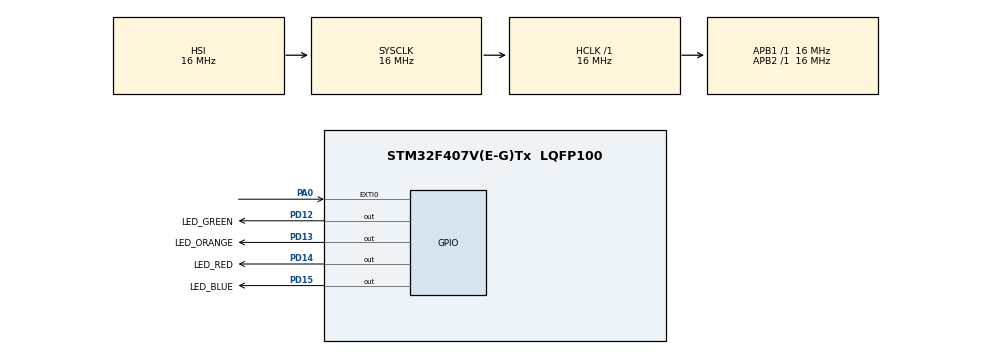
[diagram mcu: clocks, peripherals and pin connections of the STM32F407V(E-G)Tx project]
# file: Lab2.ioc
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Mcu.Family=STM32F4
Mcu.Name=STM32F407V(E-G)Tx
Mcu.Package=LQFP100
NVIC.EXTI0_IRQn=true\:1\:0\:true\:false\:true\:true\:true\:true
NVIC.PriorityGroup=NVIC_PRIORITYGROUP_4
PA0-WKUP.Signal=GPXTI0
PD12.GPIO_Label=LED_GREEN
PD12.Signal=GPIO_Output
PD13.GPIO_Label=LED_ORANGE
PD13.Signal=GPIO_Output
PD14.GPIO_Label=LED_RED
PD14.Signal=GPIO_Output
PD15.GPIO_Label=LED_BLUE
PD15.Signal=GPIO_Output
ProjectManager.HeapSize=0x200
ProjectManager.StackSize=0x400
ProjectManager.TargetToolchain=STM32CubeIDE
RCC.AHBFreq_Value=16000000
RCC.APB1Freq_Value=16000000
RCC.APB2Freq_Value=16000000
RCC.CortexFreq_Value=16000000
RCC.HSE_VALUE=25000000
RCC.HSI_VALUE=16000000
RCC.LSE_VALUE=32768
RCC.SYSCLKFreq_VALUE=16000000
RCC.VCOOutputFreq_Value=192000000
board=custom

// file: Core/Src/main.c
/* USER CODE BEGIN Header */
/**
  ******************************************************************************
  * @file           : main.c
  * @brief          : Main program body
  ******************************************************************************
  * @attention
  *
  * Copyright (c) 2023 STMicroelectronics.
  * All rights reserved.
  *
  * This software is licensed under terms that can be found in the LICENSE file
  * in the root directory of this software component.
  * If no LICENSE file comes with this software, it is provided AS-IS.
  *
  ******************************************************************************
  */
/* USER CODE END Header */
#include "main.h"

/* USER CODE BEGIN PD */
#define NUM_OF_LEDS 4
/* USER CODE END PD */

/* USER CODE BEGIN PV */
uint16_t leds[NUM_OF_LEDS] = {LED_BLUE_Pin, LED_GREEN_Pin, LED_ORANGE_Pin, LED_RED_Pin};
unsigned int pin_num = 0;
unsigned int mode = 0;
/* USER CODE END PV */

void SystemClock_Config(void);
static void MX_GPIO_Init(void);

/* USER CODE BEGIN 0 */

void write_all(GPIO_PinState state){
  for (int i = 0; i < NUM_OF_LEDS; i++){
	HAL_GPIO_WritePin(GPIOD, leds[i], state);
  }
}

void blink(void){
	HAL_GPIO_WritePin(GPIOD, leds[pin_num], GPIO_PIN_SET);
	HAL_Delay(1000);

	pin_num++;
	if (pin_num == NUM_OF_LEDS){
		pin_num = 0;
		write_all(GPIO_PIN_RESET);
		HAL_Delay(1000);
	}
}

/* USER CODE END 0 */

int main(void)
{

  /* MCU Configuration--------------------------------------------------------*/

  /* Reset of all peripherals, Initializes the Flash interface and the Systick. */
  HAL_Init();

  /* Configure the system clock */
  SystemClock_Config();

  /* Initialize all configured peripherals */
  MX_GPIO_Init();

  /* Infinite loop */
  /* USER CODE BEGIN WHILE */
  while (1)
  {
	  if (mode == 1){
		  blink();
	  }else{
		  write_all(GPIO_PIN_RESET);
	  }
    /* USER CODE END WHILE */

  }
}

void SystemClock_Config(void)
{
  RCC_OscInitTypeDef RCC_OscInitStruct = {0};
  RCC_ClkInitTypeDef RCC_ClkInitStruct = {0};

  /** Configure the main internal regulator output voltage
  */
  __HAL_RCC_PWR_CLK_ENABLE();
  __HAL_PWR_VOLTAGESCALING_CONFIG(PWR_REGULATOR_VOLTAGE_SCALE1);

  /** Initializes the RCC Oscillators according to the specified parameters
  * in the RCC_OscInitTypeDef structure.
  */
  RCC_OscInitStruct.OscillatorType = RCC_OSCILLATORTYPE_HSI;
  RCC_OscInitStruct.HSIState = RCC_HSI_ON;
  RCC_OscInitStruct.HSICalibrationValue = RCC_HSICALIBRATION_DEFAULT;
  RCC_OscInitStruct.PLL.PLLState = RCC_PLL_NONE;
  if (HAL_RCC_OscConfig(&RCC_OscInitStruct) != HAL_OK)
  {
    Error_Handler();
  }

  /** Initializes the CPU, AHB and APB buses clocks
  */
  RCC_ClkInitStruct.ClockType = RCC_CLOCKTYPE_HCLK|RCC_CLOCKTYPE_SYSCLK
                              |RCC_CLOCKTYPE_PCLK1|RCC_CLOCKTYPE_PCLK2;
  RCC_ClkInitStruct.SYSCLKSource = RCC_SYSCLKSOURCE_HSI;
  RCC_ClkInitStruct.AHBCLKDivider = RCC_SYSCLK_DIV1;
  RCC_ClkInitStruct.APB1CLKDivider = RCC_HCLK_DIV1;
  RCC_ClkInitStruct.APB2CLKDivider = RCC_HCLK_DIV1;

  if (HAL_RCC_ClockConfig(&RCC_ClkInitStruct, FLASH_LATENCY_0) != HAL_OK)
  {
    Error_Handler();
  }
}

static void MX_GPIO_Init(void)
{
  GPIO_InitTypeDef GPIO_InitStruct = {0};

  /* GPIO Ports Clock Enable */
  __HAL_RCC_GPIOA_CLK_ENABLE();
  __HAL_RCC_GPIOD_CLK_ENABLE();

  /*Configure GPIO pin Output Level */
  HAL_GPIO_WritePin(GPIOD, LED_GREEN_Pin|LED_ORANGE_Pin|LED_RED_Pin|LED_BLUE_Pin, GPIO_PIN_RESET);

  /*Configure GPIO pin : PA0 */
  GPIO_InitStruct.Pin = GPIO_PIN_0;
  GPIO_InitStruct.Mode = GPIO_MODE_IT_RISING;
  GPIO_InitStruct.Pull = GPIO_NOPULL;
  HAL_GPIO_Init(GPIOA, &GPIO_InitStruct);

  /*Configure GPIO pins : LED_GREEN_Pin LED_ORANGE_Pin LED_RED_Pin LED_BLUE_Pin */
  GPIO_InitStruct.Pin = LED_GREEN_Pin|LED_ORANGE_Pin|LED_RED_Pin|LED_BLUE_Pin;
  GPIO_InitStruct.Mode = GPIO_MODE_OUTPUT_PP;
  GPIO_InitStruct.Pull = GPIO_NOPULL;
  GPIO_InitStruct.Speed = GPIO_SPEED_FREQ_LOW;
  HAL_GPIO_Init(GPIOD, &GPIO_InitStruct);

  /* EXTI interrupt init*/
  HAL_NVIC_SetPriority(EXTI0_IRQn, 1, 0);
  HAL_NVIC_EnableIRQ(EXTI0_IRQn);

}

void Error_Handler(void)
{
  __disable_irq();
  while (1)
  {
  }
}
